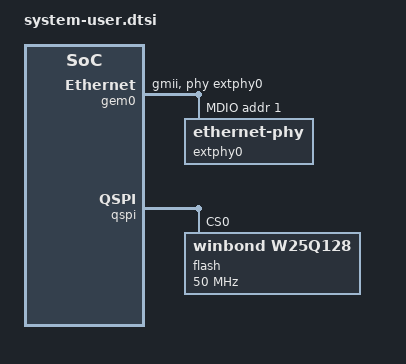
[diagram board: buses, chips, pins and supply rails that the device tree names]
/include/ "system-conf.dtsi"
/ {
};

&gem0 {
    local-mac-address = [fa 61 0e 03 00 00];
    phy-handle = <&extphy0>;
    phy-mode="gmii";
    status = "okay";
    xlnx,has-mdio = <0x1>;
    mdio {
        #address-cells = <1>;
        #size-cells = <0>;
        extphy0: ethernet-phy@1 {
            reg = <1>;
        };
    };
};  

&qspi {
    status = "okay";
    flash@0 {
        compatible = "winbond,w25q128", "jedec,spi-nor";
        reg = <0x0>;
        spi-max-frequency = <50000000>;
        #address-cells = <1>;
        #size-cells = <1>;
    };
};
